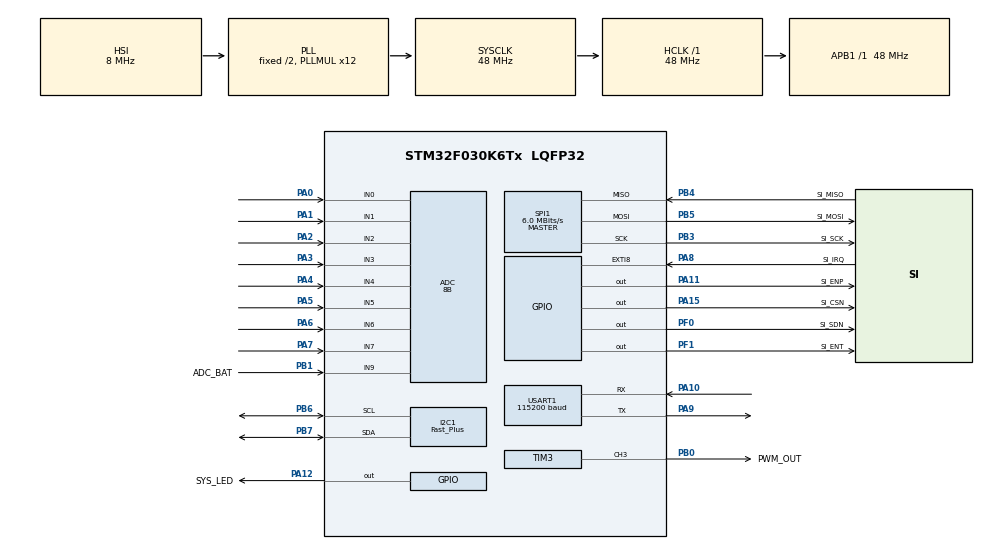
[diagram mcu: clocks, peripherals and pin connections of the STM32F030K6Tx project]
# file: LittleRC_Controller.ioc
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ADC.ClockPrescaler=ADC_CLOCK_ASYNC_DIV1
ADC.ContinuousConvMode=ENABLE
ADC.DMAContinuousRequests=ENABLE
ADC.DataAlign=ADC_DATAALIGN_RIGHT
ADC.DiscontinuousConvMode=DISABLE
ADC.EOCSelection=ADC_EOC_SINGLE_CONV
ADC.EnableAnalogWatchDog=false
ADC.ExternalTrigConv=ADC_SOFTWARE_START
ADC.ExternalTrigConvEdge=ADC_EXTERNALTRIGCONVEDGE_NONE
ADC.LowPowerAutoPowerOff=DISABLE
ADC.LowPowerAutoWait=DISABLE
ADC.Overrun=ADC_OVR_DATA_PRESERVED
ADC.Resolution=ADC_RESOLUTION_8B
ADC.SamplingTime=ADC_SAMPLETIME_239CYCLES_5
ADC.ScanConvMode=ADC_SCAN_DIRECTION_FORWARD
Dma.ADC.0.Direction=DMA_PERIPH_TO_MEMORY
Dma.ADC.0.Instance=DMA1_Channel1
Dma.ADC.0.MemDataAlignment=DMA_MDATAALIGN_HALFWORD
Dma.ADC.0.MemInc=DMA_MINC_ENABLE
Dma.ADC.0.Mode=DMA_CIRCULAR
Dma.ADC.0.PeriphDataAlignment=DMA_PDATAALIGN_HALFWORD
Dma.ADC.0.PeriphInc=DMA_PINC_DISABLE
Dma.ADC.0.Priority=DMA_PRIORITY_LOW
Dma.Request0=ADC
I2C1.I2C_Speed_Mode=I2C_Fast_Plus
I2C1.Timing=0x20000209
Mcu.Family=STM32F0
Mcu.Name=STM32F030K6Tx
Mcu.Package=LQFP32
NVIC.DMA1_Channel1_IRQn=true\:0\:0\:false\:false\:true\:false
NVIC.EXTI4_15_IRQn=true\:0\:0\:false\:false\:true\:true
NVIC.TIM17_IRQn=true\:0\:0\:false\:false\:true\:true
PA0.Mode=IN0
PA0.Signal=ADC_IN0
PA1.Mode=IN1
PA1.Signal=ADC_IN1
PA10.Mode=Multiprocessor_communication
PA10.Signal=USART1_RX
PA11.GPIO_Label=SI_ENP
PA11.GPIO_Speed=GPIO_SPEED_FREQ_MEDIUM
PA11.Signal=GPIO_Output
PA12.GPIO_Label=SYS_LED
PA12.GPIO_ModeDefaultOutputPP=GPIO_MODE_OUTPUT_OD
PA12.GPIO_Speed=GPIO_SPEED_FREQ_MEDIUM
PA12.PinState=GPIO_PIN_SET
PA12.Signal=GPIO_Output
PA13.Mode=Serial_Wire
PA13.Signal=SYS_SWDIO
PA14.Mode=Serial_Wire
PA14.Signal=SYS_SWCLK
PA15.GPIO_Label=SI_CSN
PA15.Signal=GPIO_Output
PA2.Mode=IN2
PA2.Signal=ADC_IN2
PA3.Mode=IN3
PA3.Signal=ADC_IN3
PA4.Mode=IN4
PA4.Signal=ADC_IN4
PA5.Mode=IN5
PA5.Signal=ADC_IN5
PA6.Mode=IN6
PA6.Signal=ADC_IN6
PA7.Mode=IN7
PA7.Signal=ADC_IN7
PA8.GPIO_Label=SI_IRQ
PA8.GPIO_ModeDefaultEXTI=GPIO_MODE_IT_FALLING
PA8.GPIO_PuPd=GPIO_PULLUP
PA8.Signal=GPXTI8
PA9.Mode=Multiprocessor_communication
PA9.Signal=USART1_TX
PB0.GPIO_Label=PWM_OUT
PB0.Signal=S_TIM3_CH3
PB1.GPIO_Label=ADC_BAT
PB1.Mode=IN9
PB1.Signal=ADC_IN9
PB3.GPIO_Label=SI_SCK
PB3.GPIO_PuPd=GPIO_NOPULL
PB3.Mode=Full_Duplex_Master
PB3.Signal=SPI1_SCK
PB4.GPIO_Label=SI_MISO
PB4.GPIO_PuPd=GPIO_NOPULL
PB4.Mode=Full_Duplex_Master
PB4.Signal=SPI1_MISO
PB5.GPIO_Label=SI_MOSI
PB5.GPIO_PuPd=GPIO_NOPULL
PB5.Mode=Full_Duplex_Master
PB5.Signal=SPI1_MOSI
PB6.Mode=I2C
PB6.Signal=I2C1_SCL
PB7.Mode=I2C
PB7.Signal=I2C1_SDA
PF0-OSC_IN.GPIO_Label=SI_SDN
PF0-OSC_IN.GPIO_Speed=GPIO_SPEED_FREQ_MEDIUM
PF0-OSC_IN.PinState=GPIO_PIN_SET
PF0-OSC_IN.Signal=GPIO_Output
PF1-OSC_OUT.GPIO_Label=SI_ENT
PF1-OSC_OUT.GPIO_Speed=GPIO_SPEED_FREQ_MEDIUM
PF1-OSC_OUT.PinState=GPIO_PIN_RESET
PF1-OSC_OUT.Signal=GPIO_Output
ProjectManager.HeapSize=0x200
ProjectManager.StackSize=0x400
ProjectManager.TargetToolchain=MDK-ARM V5
RCC.AHBFreq_Value=48000000
RCC.APB1Freq_Value=48000000
RCC.APB1TimFreq_Value=48000000
RCC.HCLKFreq_Value=48000000
RCC.I2c1ClockSelection=RCC_I2C1CLKSOURCE_SYSCLK
RCC.PLLMUL=RCC_PLL_MUL12
RCC.SYSCLKFreq_VALUE=48000000
RCC.SYSCLKSource=RCC_SYSCLKSOURCE_PLLCLK
RCC.Usart1ClockSelection=RCC_USART1CLKSOURCE_HSI
SH.S_TIM3_CH3.0=TIM3_CH3,PWM Generation3 CH3
SPI1.BaudRatePrescaler=SPI_BAUDRATEPRESCALER_8
SPI1.CLKPolarity=SPI_POLARITY_LOW
SPI1.CalculateBaudRate=6.0 MBits/s
SPI1.DataSize=SPI_DATASIZE_8BIT
SPI1.Direction=SPI_DIRECTION_2LINES
SPI1.Mode=SPI_MODE_MASTER
SPI1.NSSPMode=SPI_NSS_PULSE_ENABLE
SPI1.VirtualType=VM_MASTER
TIM17.Prescaler=48000-1
TIM3.Channel-PWM\ Generation3\ CH3=TIM_CHANNEL_3
USART1.BaudRate=115200
USART1.VirtualMode-Multiprocessor_communication=VM_ASYNC
VP_ADC_TempSens_Input.Mode=IN-TempSens
VP_ADC_Vref_Input.Mode=IN-Vrefint
VP_TIM17_VS_ClockSourceINT.Mode=Enable_Timer
board=LittleRC_Controller

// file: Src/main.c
/**
  ******************************************************************************
  * @file           : main.c
  * @brief          : Main program body
  ******************************************************************************
  ** This notice applies to any and all portions of this file
  * that are not between comment pairs USER CODE BEGIN and
  * USER CODE END. Other portions of this file, whether
  * inserted by the user or by software development tools
  * are owned by their respective copyright owners.
  *
  * COPYRIGHT(c) 2018 STMicroelectronics
  *
  * Redistribution and use in source and binary forms, with or without modification,
  * are permitted provided that the following conditions are met:
  *   1. Redistributions of source code must retain the above copyright notice,
  *      this list of conditions and the following disclaimer.
  *   2. Redistributions in binary form must reproduce the above copyright notice,
  *      this list of conditions and the following disclaimer in the documentation
  *      and/or other materials provided with the distribution.
  *   3. Neither the name of STMicroelectronics nor the names of its contributors
  *      may be used to endorse or promote products derived from this software
  *      without specific prior written permission.
  *
  * THIS SOFTWARE IS PROVIDED BY THE COPYRIGHT HOLDERS AND CONTRIBUTORS "AS IS"
  * AND ANY EXPRESS OR IMPLIED WARRANTIES, INCLUDING, BUT NOT LIMITED TO, THE
  * IMPLIED WARRANTIES OF MERCHANTABILITY AND FITNESS FOR A PARTICULAR PURPOSE ARE
  * DISCLAIMED. IN NO EVENT SHALL THE COPYRIGHT HOLDER OR CONTRIBUTORS BE LIABLE
  * FOR ANY DIRECT, INDIRECT, INCIDENTAL, SPECIAL, EXEMPLARY, OR CONSEQUENTIAL
  * DAMAGES (INCLUDING, BUT NOT LIMITED TO, PROCUREMENT OF SUBSTITUTE GOODS OR
  * SERVICES; LOSS OF USE, DATA, OR PROFITS; OR BUSINESS INTERRUPTION) HOWEVER
  * CAUSED AND ON ANY THEORY OF LIABILITY, WHETHER IN CONTRACT, STRICT LIABILITY,
  * OR TORT (INCLUDING NEGLIGENCE OR OTHERWISE) ARISING IN ANY WAY OUT OF THE USE
  * OF THIS SOFTWARE, EVEN IF ADVISED OF THE POSSIBILITY OF SUCH DAMAGE.
  *
  ******************************************************************************
  */
#include "main.h"
#include "stm32f0xx_hal.h"

/* USER CODE BEGIN Includes */
#include "bsp.h"

#include "si446x/si446x.h"

#include "oled/LCD_graph.h"
#include "oled/fonts.h"
#include "oled/oled_i2c.h"

/* USER CODE END Includes */

ADC_HandleTypeDef hadc;
DMA_HandleTypeDef hdma_adc;

I2C_HandleTypeDef hi2c1;

SPI_HandleTypeDef hspi1;

TIM_HandleTypeDef htim3;
TIM_HandleTypeDef htim17;

UART_HandleTypeDef huart1;

/* USER CODE BEGIN PV */
/* Private variables ---------------------------------------------------------*/

#define MAX_TIMEOUT 25 // 25s

/* USER CODE END PV */

void SystemClock_Config(void);
static void MX_GPIO_Init(void);
static void MX_DMA_Init(void);
static void MX_ADC_Init(void);
static void MX_SPI1_Init(void);
static void MX_USART1_UART_Init(void);
static void MX_I2C1_Init(void);
static void MX_TIM3_Init(void);
static void MX_TIM17_Init(void);

void HAL_TIM_MspPostInit(TIM_HandleTypeDef *htim);

/* USER CODE BEGIN PFP */
/* Private function prototypes -----------------------------------------------*/

uint8_t tx_rssi, rx_rssi;
uint16_t adc_value[11];
int sent, received, rpc;
uint16_t delay = MAX_TIMEOUT;

/* USER CODE END PFP */

/* USER CODE BEGIN 0 */
int fputc(int ch, FILE *f){
	uint8_t t = ch;
	HAL_UART_Transmit(&huart1, (uint8_t *)&t, 1, 0xff);
	return 1;
}

float GetMcuTemp(){
	//return (1430-adc_value[9]*3300/0xff)/4.3+25;
	return (1430-adc_value[9]*1200/adc_value[10])/4.3+25;
}

float GetBatteryVoltage(){
	return (adc_value[8]*3.3*2/0xff);
}

void OLED_Loop(){
	static char sbuf[128];

	LCD_PutStrXY(0, 0, "Rssi");
	sprintf(sbuf, "%d  %d ", tx_rssi/2-134, rx_rssi/2-134);
	LCD_PutStrXY(36, 0, sbuf);
	LCD_PutStrXY(96, 0, "dB");

	LCD_PutStrXY(0, 8, "Delay");
	sprintf(sbuf, "%d ", delay);
	LCD_PutStrXY(48, 8, sbuf);
	LCD_PutStrXY(96, 8, "ms");

	LCD_PutStrXY(0, 16, "Vbat");
	sprintf(sbuf, "%.2f ", GetBatteryVoltage());
	LCD_PutStrXY(48, 16, sbuf);
	LCD_PutStrXY(96, 16, "v");

	LCD_PutStrXY(0, 24, "Sent");
	sprintf(sbuf, "%d ", sent);
	LCD_PutStrXY(36, 24, sbuf);

	LCD_PutStrXY(0, 32, "Recv");
	sprintf(sbuf, "%d ", received);
	LCD_PutStrXY(36, 32, sbuf);

	LCD_PutStrXY(0, 40, "TOLE");
	sprintf(sbuf, "%.2f  ", (float)received*100/sent);
	LCD_PutStrXY(48, 40, sbuf);
	LCD_PutStrXY(96, 40, "%");

}

void SendPacket(){
	static uint8_t buf[128];
	static int tag;

	for(int i=0;i<10;i++) buf[i] = i+0x26;
	if(tag >= 10){
		tag = 0;

		rpc = 1;
		buf[0] = 0x88;
	}

	SI_ENP_H(); //enable PA

	SI446X_SEND_PACKET(buf, SEND_LENGTH, SEND_CHANNEL, 6);

	sent++;
}

void RecvPacket(){
	static uint8_t buf[128];

	SI446X_READ_PACKET(buf, RECV_LENGTH);

	rx_rssi = buf[0];

	received++;
}

void Handle_SI_IRQ(){
	static uint8_t buf[128];

	SI446X_INT_STATUS(buf);	//clean TI && read status

	if(buf[3] & (1<<5)){	//PACKET_SENT_PEND
		SI_ENP_L(); //disable PA

		if(rpc){
			rpc = 0;
			SI446X_START_RX(RECV_CHANNEL, 0, RECV_LENGTH, 2, 2, 2);//switch to tx when failed
			//SI446X_RX_HOP(0x41, 0x0f, 0x62, 0x76, 0x08, 0x5B);

			//start timeout timer
			__HAL_TIM_SET_AUTORELOAD(&htim17,  delay + 5);
			__HAL_TIM_SET_COUNTER(&htim17,  0);
		}else{
			SendPacket();
		}

	}else if(buf[3] & (1<<4)){	//PACKET_RX_PEND
		//STOP timeout timer
		__HAL_TIM_SET_AUTORELOAD(&htim17,  0);
		delay = __HAL_TIM_GET_COUNTER(&htim17);

		//recv packet
		RecvPacket();
		//continue tx packet
		SendPacket();

	}else if(buf[5] & (1<<0)){	//SYNC_DETECT_PEND
		//read rssi
		tx_rssi = SI446X_GET_FRR_REG(FRR_D_READ);

	}
}

void Handle_ACK(){
	//STOP timer
	__HAL_TIM_SET_AUTORELOAD(&htim17,  0);

	//tx packet again
	SendPacket();

	//count delay
	//delay = MAX_TIMEOUT;
}

/* USER CODE END 0 */

int main(void)
{

  /* MCU Configuration----------------------------------------------------------*/

  /* Reset of all peripherals, Initializes the Flash interface and the Systick. */
  HAL_Init();

  /* Configure the system clock */
  SystemClock_Config();

  /* Initialize all configured peripherals */
  MX_GPIO_Init();
  MX_DMA_Init();
  MX_ADC_Init();
  MX_SPI1_Init();
  MX_USART1_UART_Init();
  MX_I2C1_Init();
  MX_TIM3_Init();
  MX_TIM17_Init();
  /* USER CODE BEGIN 2 */

	printf("Init System\n\r");

	//init adc
	HAL_ADC_Start_DMA(&hadc, (uint32_t*)&adc_value, 11); //Start ADC

	//init si4463
	HAL_NVIC_DisableIRQ(EXTI4_15_IRQn);//disalbe IRQ
  SI446X_RESET();
	HAL_NVIC_EnableIRQ(EXTI4_15_IRQn);//enalbe IRQ
	//init timer
	HAL_TIM_Base_Start_IT(&htim17);
	SendPacket();

	//init oled
	OLED_Init();
	LCD_SetFont(SmallFont6_8);

  /* USER CODE END 2 */

  /* Infinite loop */
  while (1) {

  /* USER CODE BEGIN 3 */
		OLED_Loop();//oled main loop
  }
  /* USER CODE END 3 */

}

void SystemClock_Config(void)
{

  RCC_OscInitTypeDef RCC_OscInitStruct;
  RCC_ClkInitTypeDef RCC_ClkInitStruct;
  RCC_PeriphCLKInitTypeDef PeriphClkInit;

    /**Initializes the CPU, AHB and APB busses clocks
    */
  RCC_OscInitStruct.OscillatorType = RCC_OSCILLATORTYPE_HSI|RCC_OSCILLATORTYPE_HSI14;
  RCC_OscInitStruct.HSIState = RCC_HSI_ON;
  RCC_OscInitStruct.HSI14State = RCC_HSI14_ON;
  RCC_OscInitStruct.HSICalibrationValue = 16;
  RCC_OscInitStruct.HSI14CalibrationValue = 16;
  RCC_OscInitStruct.PLL.PLLState = RCC_PLL_ON;
  RCC_OscInitStruct.PLL.PLLSource = RCC_PLLSOURCE_HSI;
  RCC_OscInitStruct.PLL.PLLMUL = RCC_PLL_MUL12;
  RCC_OscInitStruct.PLL.PREDIV = RCC_PREDIV_DIV1;
  if (HAL_RCC_OscConfig(&RCC_OscInitStruct) != HAL_OK)
  {
    _Error_Handler(__FILE__, __LINE__);
  }

    /**Initializes the CPU, AHB and APB busses clocks
    */
  RCC_ClkInitStruct.ClockType = RCC_CLOCKTYPE_HCLK|RCC_CLOCKTYPE_SYSCLK
                              |RCC_CLOCKTYPE_PCLK1;
  RCC_ClkInitStruct.SYSCLKSource = RCC_SYSCLKSOURCE_PLLCLK;
  RCC_ClkInitStruct.AHBCLKDivider = RCC_SYSCLK_DIV1;
  RCC_ClkInitStruct.APB1CLKDivider = RCC_HCLK_DIV1;

  if (HAL_RCC_ClockConfig(&RCC_ClkInitStruct, FLASH_LATENCY_1) != HAL_OK)
  {
    _Error_Handler(__FILE__, __LINE__);
  }

  PeriphClkInit.PeriphClockSelection = RCC_PERIPHCLK_USART1|RCC_PERIPHCLK_I2C1;
  PeriphClkInit.Usart1ClockSelection = RCC_USART1CLKSOURCE_HSI;
  PeriphClkInit.I2c1ClockSelection = RCC_I2C1CLKSOURCE_SYSCLK;
  if (HAL_RCCEx_PeriphCLKConfig(&PeriphClkInit) != HAL_OK)
  {
    _Error_Handler(__FILE__, __LINE__);
  }

    /**Configure the Systick interrupt time
    */
  HAL_SYSTICK_Config(HAL_RCC_GetHCLKFreq()/1000);

    /**Configure the Systick
    */
  HAL_SYSTICK_CLKSourceConfig(SYSTICK_CLKSOURCE_HCLK);

  /* SysTick_IRQn interrupt configuration */
  HAL_NVIC_SetPriority(SysTick_IRQn, 0, 0);
}

/* ADC init function */
static void MX_ADC_Init(void)
{

  ADC_ChannelConfTypeDef sConfig;

    /**Configure the global features of the ADC (Clock, Resolution, Data Alignment and number of conversion)
    */
  hadc.Instance = ADC1;
  hadc.Init.ClockPrescaler = ADC_CLOCK_ASYNC_DIV1;
  hadc.Init.Resolution = ADC_RESOLUTION_8B;
  hadc.Init.DataAlign = ADC_DATAALIGN_RIGHT;
  hadc.Init.ScanConvMode = ADC_SCAN_DIRECTION_FORWARD;
  hadc.Init.EOCSelection = ADC_EOC_SINGLE_CONV;
  hadc.Init.LowPowerAutoWait = DISABLE;
  hadc.Init.LowPowerAutoPowerOff = DISABLE;
  hadc.Init.ContinuousConvMode = ENABLE;
  hadc.Init.DiscontinuousConvMode = DISABLE;
  hadc.Init.ExternalTrigConv = ADC_SOFTWARE_START;
  hadc.Init.ExternalTrigConvEdge = ADC_EXTERNALTRIGCONVEDGE_NONE;
  hadc.Init.DMAContinuousRequests = ENABLE;
  hadc.Init.Overrun = ADC_OVR_DATA_PRESERVED;
  if (HAL_ADC_Init(&hadc) != HAL_OK)
  {
    _Error_Handler(__FILE__, __LINE__);
  }

    /**Configure for the selected ADC regular channel to be converted.
    */
  sConfig.Channel = ADC_CHANNEL_0;
  sConfig.Rank = ADC_RANK_CHANNEL_NUMBER;
  sConfig.SamplingTime = ADC_SAMPLETIME_239CYCLES_5;
  if (HAL_ADC_ConfigChannel(&hadc, &sConfig) != HAL_OK)
  {
    _Error_Handler(__FILE__, __LINE__);
  }

    /**Configure for the selected ADC regular channel to be converted.
    */
  sConfig.Channel = ADC_CHANNEL_1;
  if (HAL_ADC_ConfigChannel(&hadc, &sConfig) != HAL_OK)
  {
    _Error_Handler(__FILE__, __LINE__);
  }

    /**Configure for the selected ADC regular channel to be converted.
    */
  sConfig.Channel = ADC_CHANNEL_2;
  if (HAL_ADC_ConfigChannel(&hadc, &sConfig) != HAL_OK)
  {
    _Error_Handler(__FILE__, __LINE__);
  }

    /**Configure for the selected ADC regular channel to be converted.
    */
  sConfig.Channel = ADC_CHANNEL_3;
  if (HAL_ADC_ConfigChannel(&hadc, &sConfig) != HAL_OK)
  {
    _Error_Handler(__FILE__, __LINE__);
  }

    /**Configure for the selected ADC regular channel to be converted.
    */
  sConfig.Channel = ADC_CHANNEL_4;
  if (HAL_ADC_ConfigChannel(&hadc, &sConfig) != HAL_OK)
  {
    _Error_Handler(__FILE__, __LINE__);
  }

    /**Configure for the selected ADC regular channel to be converted.
    */
  sConfig.Channel = ADC_CHANNEL_5;
  if (HAL_ADC_ConfigChannel(&hadc, &sConfig) != HAL_OK)
  {
    _Error_Handler(__FILE__, __LINE__);
  }

    /**Configure for the selected ADC regular channel to be converted.
    */
  sConfig.Channel = ADC_CHANNEL_6;
  if (HAL_ADC_ConfigChannel(&hadc, &sConfig) != HAL_OK)
  {
    _Error_Handler(__FILE__, __LINE__);
  }

    /**Configure for the selected ADC regular channel to be converted.
    */
  sConfig.Channel = ADC_CHANNEL_7;
  if (HAL_ADC_ConfigChannel(&hadc, &sConfig) != HAL_OK)
  {
    _Error_Handler(__FILE__, __LINE__);
  }

    /**Configure for the selected ADC regular channel to be converted.
    */
  sConfig.Channel = ADC_CHANNEL_9;
  if (HAL_ADC_ConfigChannel(&hadc, &sConfig) != HAL_OK)
  {
    _Error_Handler(__FILE__, __LINE__);
  }

    /**Configure for the selected ADC regular channel to be converted.
    */
  sConfig.Channel = ADC_CHANNEL_TEMPSENSOR;
  if (HAL_ADC_ConfigChannel(&hadc, &sConfig) != HAL_OK)
  {
    _Error_Handler(__FILE__, __LINE__);
  }

    /**Configure for the selected ADC regular channel to be converted.
    */
  sConfig.Channel = ADC_CHANNEL_VREFINT;
  if (HAL_ADC_ConfigChannel(&hadc, &sConfig) != HAL_OK)
  {
    _Error_Handler(__FILE__, __LINE__);
  }

}

/* I2C1 init function */
static void MX_I2C1_Init(void)
{

  hi2c1.Instance = I2C1;
  hi2c1.Init.Timing = 0x20000209;
  hi2c1.Init.OwnAddress1 = 0;
  hi2c1.Init.AddressingMode = I2C_ADDRESSINGMODE_7BIT;
  hi2c1.Init.DualAddressMode = I2C_DUALADDRESS_DISABLE;
  hi2c1.Init.OwnAddress2 = 0;
  hi2c1.Init.OwnAddress2Masks = I2C_OA2_NOMASK;
  hi2c1.Init.GeneralCallMode = I2C_GENERALCALL_DISABLE;
  hi2c1.Init.NoStretchMode = I2C_NOSTRETCH_DISABLE;
  if (HAL_I2C_Init(&hi2c1) != HAL_OK)
  {
    _Error_Handler(__FILE__, __LINE__);
  }

    /**Configure Analogue filter
    */
  if (HAL_I2CEx_ConfigAnalogFilter(&hi2c1, I2C_ANALOGFILTER_ENABLE) != HAL_OK)
  {
    _Error_Handler(__FILE__, __LINE__);
  }

    /**Configure Digital filter
    */
  if (HAL_I2CEx_ConfigDigitalFilter(&hi2c1, 0) != HAL_OK)
  {
    _Error_Handler(__FILE__, __LINE__);
  }

    /**I2C Fast mode Plus enable
    */
  __HAL_SYSCFG_FASTMODEPLUS_ENABLE(I2C_FASTMODEPLUS_I2C1);

}

/* SPI1 init function */
static void MX_SPI1_Init(void)
{

  /* SPI1 parameter configuration*/
  hspi1.Instance = SPI1;
  hspi1.Init.Mode = SPI_MODE_MASTER;
  hspi1.Init.Direction = SPI_DIRECTION_2LINES;
  hspi1.Init.DataSize = SPI_DATASIZE_8BIT;
  hspi1.Init.CLKPolarity = SPI_POLARITY_LOW;
  hspi1.Init.CLKPhase = SPI_PHASE_1EDGE;
  hspi1.Init.NSS = SPI_NSS_SOFT;
  hspi1.Init.BaudRatePrescaler = SPI_BAUDRATEPRESCALER_8;
  hspi1.Init.FirstBit = SPI_FIRSTBIT_MSB;
  hspi1.Init.TIMode = SPI_TIMODE_DISABLE;
  hspi1.Init.CRCCalculation = SPI_CRCCALCULATION_DISABLE;
  hspi1.Init.CRCPolynomial = 7;
  hspi1.Init.CRCLength = SPI_CRC_LENGTH_DATASIZE;
  hspi1.Init.NSSPMode = SPI_NSS_PULSE_ENABLE;
  if (HAL_SPI_Init(&hspi1) != HAL_OK)
  {
    _Error_Handler(__FILE__, __LINE__);
  }

}

/* TIM3 init function */
static void MX_TIM3_Init(void)
{

  TIM_MasterConfigTypeDef sMasterConfig;
  TIM_OC_InitTypeDef sConfigOC;

  htim3.Instance = TIM3;
  htim3.Init.Prescaler = 0;
  htim3.Init.CounterMode = TIM_COUNTERMODE_UP;
  htim3.Init.Period = 0;
  htim3.Init.ClockDivision = TIM_CLOCKDIVISION_DIV1;
  htim3.Init.AutoReloadPreload = TIM_AUTORELOAD_PRELOAD_DISABLE;
  if (HAL_TIM_PWM_Init(&htim3) != HAL_OK)
  {
    _Error_Handler(__FILE__, __LINE__);
  }

  sMasterConfig.MasterOutputTrigger = TIM_TRGO_RESET;
  sMasterConfig.MasterSlaveMode = TIM_MASTERSLAVEMODE_DISABLE;
  if (HAL_TIMEx_MasterConfigSynchronization(&htim3, &sMasterConfig) != HAL_OK)
  {
    _Error_Handler(__FILE__, __LINE__);
  }

  sConfigOC.OCMode = TIM_OCMODE_PWM1;
  sConfigOC.Pulse = 0;
  sConfigOC.OCPolarity = TIM_OCPOLARITY_HIGH;
  sConfigOC.OCFastMode = TIM_OCFAST_DISABLE;
  if (HAL_TIM_PWM_ConfigChannel(&htim3, &sConfigOC, TIM_CHANNEL_3) != HAL_OK)
  {
    _Error_Handler(__FILE__, __LINE__);
  }

  HAL_TIM_MspPostInit(&htim3);

}

/* TIM17 init function */
static void MX_TIM17_Init(void)
{

  htim17.Instance = TIM17;
  htim17.Init.Prescaler = 48000-1;
  htim17.Init.CounterMode = TIM_COUNTERMODE_UP;
  htim17.Init.Period = 0;
  htim17.Init.ClockDivision = TIM_CLOCKDIVISION_DIV1;
  htim17.Init.RepetitionCounter = 0;
  htim17.Init.AutoReloadPreload = TIM_AUTORELOAD_PRELOAD_DISABLE;
  if (HAL_TIM_Base_Init(&htim17) != HAL_OK)
  {
    _Error_Handler(__FILE__, __LINE__);
  }

}

/* USART1 init function */
static void MX_USART1_UART_Init(void)
{

  huart1.Instance = USART1;
  huart1.Init.BaudRate = 115200;
  huart1.Init.WordLength = UART_WORDLENGTH_8B;
  huart1.Init.StopBits = UART_STOPBITS_1;
  huart1.Init.Parity = UART_PARITY_NONE;
  huart1.Init.Mode = UART_MODE_TX_RX;
  huart1.Init.HwFlowCtl = UART_HWCONTROL_NONE;
  huart1.Init.OverSampling = UART_OVERSAMPLING_16;
  huart1.Init.OneBitSampling = UART_ONE_BIT_SAMPLE_DISABLE;
  huart1.AdvancedInit.AdvFeatureInit = UART_ADVFEATURE_NO_INIT;
  if (HAL_MultiProcessor_Init(&huart1, 0, UART_WAKEUPMETHOD_IDLELINE) != HAL_OK)
  {
    _Error_Handler(__FILE__, __LINE__);
  }

}

static void MX_DMA_Init(void)
{
  /* DMA controller clock enable */
  __HAL_RCC_DMA1_CLK_ENABLE();

  /* DMA interrupt init */
  /* DMA1_Channel1_IRQn interrupt configuration */
  HAL_NVIC_SetPriority(DMA1_Channel1_IRQn, 0, 0);
  HAL_NVIC_EnableIRQ(DMA1_Channel1_IRQn);

}

/** Configure pins as
        * Analog
        * Input
        * Output
        * EVENT_OUT
        * EXTI
*/
static void MX_GPIO_Init(void)
{

  GPIO_InitTypeDef GPIO_InitStruct;

  /* GPIO Ports Clock Enable */
  __HAL_RCC_GPIOF_CLK_ENABLE();
  __HAL_RCC_GPIOA_CLK_ENABLE();
  __HAL_RCC_GPIOB_CLK_ENABLE();

  /*Configure GPIO pin Output Level */
  HAL_GPIO_WritePin(SI_SDN_GPIO_Port, SI_SDN_Pin, GPIO_PIN_SET);

  /*Configure GPIO pin Output Level */
  HAL_GPIO_WritePin(SI_ENT_GPIO_Port, SI_ENT_Pin, GPIO_PIN_RESET);

  /*Configure GPIO pin Output Level */
  HAL_GPIO_WritePin(GPIOA, SI_ENP_Pin|SI_CSN_Pin, GPIO_PIN_RESET);

  /*Configure GPIO pin Output Level */
  HAL_GPIO_WritePin(SYS_LED_GPIO_Port, SYS_LED_Pin, GPIO_PIN_SET);

  /*Configure GPIO pins : SI_SDN_Pin SI_ENT_Pin */
  GPIO_InitStruct.Pin = SI_SDN_Pin|SI_ENT_Pin;
  GPIO_InitStruct.Mode = GPIO_MODE_OUTPUT_PP;
  GPIO_InitStruct.Pull = GPIO_NOPULL;
  GPIO_InitStruct.Speed = GPIO_SPEED_FREQ_MEDIUM;
  HAL_GPIO_Init(GPIOF, &GPIO_InitStruct);

  /*Configure GPIO pin : SI_IRQ_Pin */
  GPIO_InitStruct.Pin = SI_IRQ_Pin;
  GPIO_InitStruct.Mode = GPIO_MODE_IT_FALLING;
  GPIO_InitStruct.Pull = GPIO_PULLUP;
  HAL_GPIO_Init(SI_IRQ_GPIO_Port, &GPIO_InitStruct);

  /*Configure GPIO pin : SI_ENP_Pin */
  GPIO_InitStruct.Pin = SI_ENP_Pin;
  GPIO_InitStruct.Mode = GPIO_MODE_OUTPUT_PP;
  GPIO_InitStruct.Pull = GPIO_NOPULL;
  GPIO_InitStruct.Speed = GPIO_SPEED_FREQ_MEDIUM;
  HAL_GPIO_Init(SI_ENP_GPIO_Port, &GPIO_InitStruct);

  /*Configure GPIO pin : SYS_LED_Pin */
  GPIO_InitStruct.Pin = SYS_LED_Pin;
  GPIO_InitStruct.Mode = GPIO_MODE_OUTPUT_OD;
  GPIO_InitStruct.Pull = GPIO_NOPULL;
  GPIO_InitStruct.Speed = GPIO_SPEED_FREQ_MEDIUM;
  HAL_GPIO_Init(SYS_LED_GPIO_Port, &GPIO_InitStruct);

  /*Configure GPIO pin : SI_CSN_Pin */
  GPIO_InitStruct.Pin = SI_CSN_Pin;
  GPIO_InitStruct.Mode = GPIO_MODE_OUTPUT_PP;
  GPIO_InitStruct.Pull = GPIO_NOPULL;
  GPIO_InitStruct.Speed = GPIO_SPEED_FREQ_LOW;
  HAL_GPIO_Init(SI_CSN_GPIO_Port, &GPIO_InitStruct);

  /* EXTI interrupt init*/
  HAL_NVIC_SetPriority(EXTI4_15_IRQn, 0, 0);
  HAL_NVIC_EnableIRQ(EXTI4_15_IRQn);

}

/* USER CODE BEGIN 4 */
void HAL_GPIO_EXTI_Callback(uint16_t GPIO_Pin)
{
  if(GPIO_Pin == SI_IRQ_Pin)
  {
		Handle_SI_IRQ();
  }
}

void HAL_TIM_PeriodElapsedCallback(TIM_HandleTypeDef *htim){
	if(htim->Instance == TIM17){
		Handle_ACK();
	}
}
/* USER CODE END 4 */

void _Error_Handler(char *file, int line)
{
    while (1) {
    }
}

/************************ (C) COPYRIGHT STMicroelectronics *****END OF FILE****/
